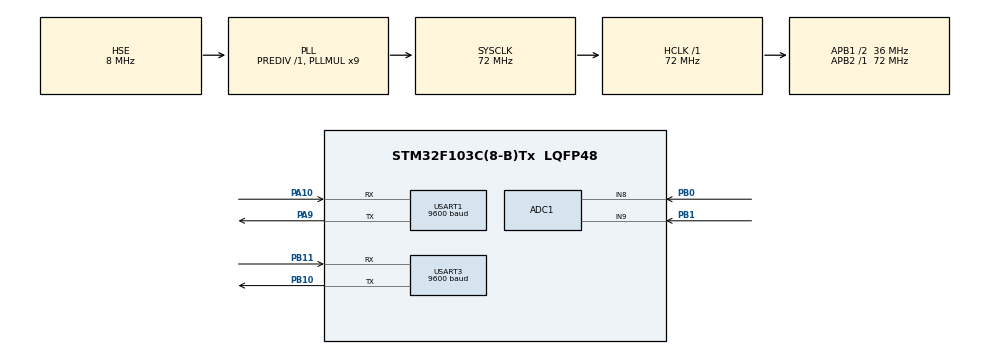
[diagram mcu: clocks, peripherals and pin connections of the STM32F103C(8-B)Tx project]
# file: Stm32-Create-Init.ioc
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ADC1.Channel-0\#ChannelRegularConversion=ADC_CHANNEL_8
ADC1.Channel-1\#ChannelRegularConversion=ADC_CHANNEL_9
ADC1.DiscontinuousConvMode=ENABLE
ADC1.NbrOfConversion=2
ADC1.NbrOfConversionFlag=1
ADC1.Rank-0\#ChannelRegularConversion=1
ADC1.Rank-1\#ChannelRegularConversion=2
ADC1.SamplingTime-0\#ChannelRegularConversion=ADC_SAMPLETIME_1CYCLE_5
ADC1.SamplingTime-1\#ChannelRegularConversion=ADC_SAMPLETIME_1CYCLE_5
ADC1.master=1
Mcu.Family=STM32F1
Mcu.Name=STM32F103C(8-B)Tx
Mcu.Package=LQFP48
NVIC.PriorityGroup=NVIC_PRIORITYGROUP_4
NVIC.TIM4_IRQn=true\:0\:0\:false\:false\:true\:true\:true\:true
NVIC.USART1_IRQn=true\:0\:0\:false\:false\:true\:true\:true\:true
PA10.Mode=Asynchronous
PA10.Signal=USART1_RX
PA9.Mode=Asynchronous
PA9.Signal=USART1_TX
PB0.Signal=ADCx_IN8
PB1.Signal=ADCx_IN9
PB10.Mode=Asynchronous
PB10.Signal=USART3_TX
PB11.Mode=Asynchronous
PB11.Signal=USART3_RX
PD0-OSC_IN.Mode=HSE-External-Oscillator
PD0-OSC_IN.Signal=RCC_OSC_IN
PD1-OSC_OUT.Mode=HSE-External-Oscillator
PD1-OSC_OUT.Signal=RCC_OSC_OUT
ProjectManager.HeapSize=0x200
ProjectManager.StackSize=0x400
ProjectManager.TargetToolchain=MDK-ARM V5
RCC.ADCPresc=RCC_ADCPCLK2_DIV6
RCC.AHBFreq_Value=72000000
RCC.APB1CLKDivider=RCC_HCLK_DIV2
RCC.APB1Freq_Value=36000000
RCC.APB1TimFreq_Value=72000000
RCC.APB2Freq_Value=72000000
RCC.APB2TimFreq_Value=72000000
RCC.HCLKFreq_Value=72000000
RCC.PLLMUL=RCC_PLL_MUL9
RCC.PLLSourceVirtual=RCC_PLLSOURCE_HSE
RCC.SYSCLKFreq_VALUE=72000000
RCC.SYSCLKSource=RCC_SYSCLKSOURCE_PLLCLK
RCC.USBFreq_Value=72000000
SH.ADCx_IN8.0=ADC1_IN8,IN8
SH.ADCx_IN9.0=ADC1_IN9,IN9
TIM4.Period=1000-1
TIM4.Prescaler=72-1
USART1.BaudRate=9600
USART1.VirtualMode=VM_ASYNC
USART3.BaudRate=9600
USART3.VirtualMode=VM_ASYNC
VP_SYS_VS_ND.Mode=No_Debug
VP_TIM4_VS_ClockSourceINT.Mode=Internal
board=custom

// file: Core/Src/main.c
/* USER CODE BEGIN Header */
/**
  ******************************************************************************
  * @file           : main.c
  * @brief          : Main program body
  ******************************************************************************
  * @attention
  *
  * Copyright (c) 2024 STMicroelectronics.
  * All rights reserved.
  *
  * This software is licensed under terms that can be found in the LICENSE file
  * in the root directory of this software component.
  * If no LICENSE file comes with this software, it is provided AS-IS.
  *
  ******************************************************************************
  */
/* USER CODE END Header */
#include "main.h"
#include "adc.h"
#include "tim.h"
#include "usart.h"
#include "gpio.h"

/* USER CODE BEGIN Includes */
#include "stdio.h"
#include <stdlib.h>
#include "delay.h"
#include "beep.h"
#include "ds18b20.h"
#include "gpio_output.h"
#include "lcd1602.h"
#include "key.h"
#include "flash.h"
/* USER CODE END Includes */

/* USER CODE BEGIN PV */

// 显示缓冲区
char showBuffer[50] = {0, };

unsigned short adGzValue = 0; // 光照值
unsigned short adSdValue = 0; // 湿度值
unsigned short newAdSdValue = 0; // 新湿度值
unsigned short temperture = 0; // 温度
int adSdValueArray[3] = {0};

unsigned short setTemperture = 273; // 设置温度
unsigned short setHumidity = 70; // 设置湿度度上限
unsigned short setLighting = 130; // 设置光照

int controlMode = 0; // 控制模式
unsigned char dgState = 0; // 灯光状态
unsigned char sbState = 0; // 水泵状态
unsigned char fsState = 0; // 风扇状态

/* USER CODE END PV */

void SystemClock_Config(void);

/* USER CODE BEGIN 0 */
/**
  * @brief  GPIO 打开所有时钟
  * @retval void
  */
void Main_GPIO_OpenAll_RCC_CLK()
{
    /* GPIO Ports Clock Enable */
    __HAL_RCC_GPIOD_CLK_ENABLE();
    __HAL_RCC_GPIOC_CLK_ENABLE();
    __HAL_RCC_GPIOB_CLK_ENABLE();
    __HAL_RCC_GPIOA_CLK_ENABLE();
}

/**
  * @brief  GPIO 初始化
  * @retval void
  */
void Main_GPIO_Init()
{
    Main_GPIO_OpenAll_RCC_CLK();
}

// 定义map函数
int map(int x, int in_min, int in_max, int out_min, int out_max)
{
    // 检查输入范围是否有效
    if(in_min == in_max)
    {
        return -1;  // 或者返回其他错误码
    }

    // 计算映射后的值
    long mapped = (x - in_min) * (out_max - out_min) / (in_max - in_min) + out_min;

    // 返回结果
    return mapped;
}

/**
  * @brief  获取AD数据
  * @retval void
  */
void GetAdValue(void)
{
    HAL_ADC_Start(&hadc1);
    // 通道8 湿度
    HAL_ADC_PollForConversion(&hadc1, 50);

    if(HAL_IS_BIT_SET(HAL_ADC_GetState(&hadc1), HAL_ADC_STATE_REG_EOC))
    {
        int AD_Value = HAL_ADC_GetValue(&hadc1);
        newAdSdValue = map(AD_Value, 0, 4095, 0, 255);
    }

    HAL_ADC_Start(&hadc1);
    // 通道9 光照强度
    HAL_ADC_PollForConversion(&hadc1, 50);

    if(HAL_IS_BIT_SET(HAL_ADC_GetState(&hadc1), HAL_ADC_STATE_REG_EOC))
    {
        int AD_Value = HAL_ADC_GetValue(&hadc1);
        adGzValue = map(AD_Value, 0, 4095, 0, 255);
    }
}

/**
  * @brief  关闭所有
  * @retval void
  */
void Close(void)
{
    Beep_Control(0); // 关闭报警
    GpioOutput_NumbetrControl(0, 0); // 关闭光照
    GpioOutput_NumbetrControl(2, 0); // 关闭水泵
    GpioOutput_NumbetrControl(1, 0); // 关闭风扇
    dgState = 0; // 灯光关
    sbState = 0; // 水泵关
    fsState = 0; // 风扇关
}
/* USER CODE END 0 */

int main(void)
{
    /* USER CODE BEGIN 1 */
    unsigned char sbWarnFlag = 0, wdWarnFlag = 0; // 警告标志
    unsigned char timerValue = 254;
    unsigned char setFlag = 0; // 设置标志
    unsigned char setIndex = 0; // 设置位置
    unsigned char showFlag = 1; // 显示标志
    /* USER CODE END 1 */

    /* MCU Configuration--------------------------------------------------------*/

    /* Reset of all peripherals, Initializes the Flash interface and the Systick. */
    HAL_Init();

    /* USER CODE BEGIN Init */
    __HAL_RCC_AFIO_CLK_ENABLE();        //端口重定义功能时钟
    __HAL_AFIO_REMAP_SWJ_NOJTAG();     //PB3用到了默认为JTAG-JTDO,用作PB3,PB3,PA15时须重定义，我通常使用ST-Link调试，因此SWJ需保留，只禁用JTAG即可。

    /* USER CODE END Init */

    /* Configure the system clock */
    SystemClock_Config();

    /* Initialize all configured peripherals */
    MX_GPIO_Init();
    MX_TIM4_Init();
    MX_USART1_UART_Init();
    MX_ADC1_Init();
    MX_USART3_UART_Init();
    /* USER CODE BEGIN 2 */
    Main_GPIO_Init();
    lcd1602_init();
    if(ds18b20_init())
    {
        lcd1602_show_string(0, 0, (unsigned char*)"ERR ");
        while(1);
    }
    Key_Init();
    Beep_Init();
    GpioOutput_Init();
    if(Flash_Init() == 0) // 存储过
    {
        setHumidity = Flash_ReadValue(0);
        setTemperture = Flash_ReadValue(1);
        setLighting = Flash_ReadValue(2);
        controlMode = Flash_ReadValue(3);
    }
    else
    {
        Flash_SaveValue(0, setHumidity);
        Flash_SaveValue(1, setTemperture);
        Flash_SaveValue(2, setLighting);
        Flash_SaveValue(3, controlMode);
    }
    /* USER CODE END 2 */

    /* Infinite loop */
    /* USER CODE BEGIN WHILE */
    while(1)
    {
        if(setFlag) // 设置
        {
            unsigned char key = Key_Scan(1);
            int addNum = 0; // 记录增加还是减小
            if(key == 2) // 加按键
            {
                addNum = 1; // 增加
            }
            else if(key == 3) // 减按键
            {
                addNum = -1; // 减小
            }
            else if(key == 1) // 设置键
            {
                if(++setIndex > 2)
                {
                    setFlag = 0; // 设置标志为假
                    timerValue = 254;
                }
                while(Key_Scan(1)); // 等待所有按钮松开
            }
            else if(key == 4) // 退出按键
            {
                setFlag = 0; // 设置标志为假
                timerValue = 254;
                while(Key_Scan(1)); // 等待所有按钮松开
            }

            if(setIndex == 0) // 设置湿度
            {
                setHumidity += addNum;
                if(setHumidity > 99)
                {
                    setHumidity = 99;
                }
                else if(setHumidity < 1)
                {
                    setHumidity = 1;
                }
                lcd1602_show_string(0, 0, (unsigned char*)"  Set Humidity  ");
                sprintf(showBuffer, "      %02d%%       ", setHumidity);
                if(addNum != 0)
                {
                    Flash_SaveValue(0, setHumidity);;
                }
            }
            else if(setIndex == 1)  // 设置温度
            {
                setTemperture += addNum;
                if(setTemperture > 999)
                {
                    setTemperture = 999;
                }
                else if(setTemperture < 1)
                {
                    setTemperture = 1;
                }
                lcd1602_show_string(0, 0, (unsigned char*)" Set Temperture ");
                sprintf(showBuffer, "      %04.1f      ", setTemperture / 10.0);
                if(addNum != 0)
                {
                    Flash_SaveValue(1, setTemperture);
                }
            }
            else // 设置光照
            {
                setLighting += addNum;
                if(setLighting > 255)
                {
                    setLighting = 255;
                }
                else if(setLighting < 1)
                {
                    setLighting = 1;
                }
                lcd1602_show_string(0, 0, (unsigned char*)"  Set Lighting  ");
                sprintf(showBuffer, "      %03d       ", setLighting);
                if(addNum != 0)
                {
                    Flash_SaveValue(2, setLighting);
                }
            }
            lcd1602_show_string(0, 1, (unsigned char*)showBuffer);
        }
        else // 运行
        {
            unsigned char key = Key_Scan(0);

            if(controlMode == 1 && key == 1) // 自动模式且设置按钮
            {
                setFlag = 1; // 设置标志为真
                setIndex = 0;
                Close();
                sbWarnFlag = wdWarnFlag = 0; // 警告标志为假
                while(Key_Scan(1)); // 等待所有按钮松开
                continue; // 是设置就不向下运行
            }
            else if(key == 4) // 模式切换
            {
                Close();
                controlMode = !controlMode; // 取反模式
                Flash_SaveValue(3, controlMode);
                timerValue = 254;
            }

            if(++timerValue > 40) // 显示
            {
                timerValue = 0;
                if(sbWarnFlag || wdWarnFlag) // 处于警告 取反显示
                {
                    showFlag = !showFlag;
                }
                GetAdValue(); // 读取湿度值
                adSdValueArray[0] = adSdValueArray[1];
                adSdValueArray[1] = adSdValueArray[2];
                adSdValueArray[2] = newAdSdValue;
                adSdValueArray[2] = (255 - adSdValueArray[2]) / 200.0 * 100;
                if(adSdValueArray[2] > 99)
                {
                    adSdValueArray[2] = 99;
                }

                if(abs(adSdValueArray[0] - adSdValueArray[1]) <= 5 && abs(adSdValueArray[1] - adSdValueArray[2]) <= 5)
                {
                    adSdValue = adSdValueArray[2];
                }

                temperture = ds18b20_get_temperature(); // 读取风扇值
                sprintf(showBuffer, "ZD SD:%02d%% G G G ", (int)adSdValue);
                if(controlMode == 0) // 手动模式
                {
                    showBuffer[0] = 'S';
                }
                if(controlMode && sbWarnFlag && showFlag == 0) // 不显示
                {
                    showBuffer[6] = ' ';
                    showBuffer[7] = ' ';
                    showBuffer[8] = ' ';
                }
                if(dgState) //
                {
                    showBuffer[10] = 'K';
                }
                if(fsState) //
                {
                    showBuffer[12] = 'K';
                }
                if(sbState) //
                {
                    showBuffer[14] = 'K';
                }

                lcd1602_show_string(0, 0, (unsigned char*)showBuffer);

                sprintf(showBuffer, "WD:%04.1f\001C GZ:%03d", temperture / 10.0, adGzValue);
                if(controlMode && wdWarnFlag && showFlag == 0) // 不显示
                {
                    showBuffer[3] = ' ';
                    showBuffer[4] = ' ';
                    showBuffer[5] = ' ';
                    showBuffer[6] = ' ';
                    showBuffer[7] = ' ';
                    showBuffer[8] = ' ';
                }
                lcd1602_show_string(0, 1, (unsigned char*)showBuffer);

            }

            if(controlMode == 0) // 手动模式
            {
                sbWarnFlag = wdWarnFlag  = 0; // 警告标志为假
                if(key == 1)
                {
                    dgState = !dgState;
                    timerValue = 254;
                }
                else if(key == 3) //
                {
                    sbState = !sbState;
                    timerValue = 254;
                }
                else if(key == 2) //
                {
                    fsState = !fsState;
                    timerValue = 254;
                }
            }
            else // 自动模式
            {
                // 检测光照
                if(adGzValue < setLighting) // 光线暗度大于设置
                {
                    dgState = 1; // 灯光开
                }
                else
                {
                    dgState = 0; // 灯光关
                }

                // 检测风扇
                if(temperture > setTemperture) // 温度大于设置
                {
                    fsState = 1; // 风扇开
                    wdWarnFlag = 1; // 警告标志为真
                }
                else
                {
                    fsState = 0; // 风扇关
                    wdWarnFlag = 0; // 警告标志为假
                }

                // 检测湿度
                if(adSdValue < setHumidity) // 湿度小于设置湿度 开启水泵
                {
                    sbState = 1; // 水泵开
                    sbWarnFlag = 1; // 警告标志为真
                }
                else // 湿度大于设置湿度 关闭水泵
                {
                    sbState = 0; // 水泵关
                    sbWarnFlag = 0; // 警告标志为假
                }
            }
        }

        if(dgState) // 灯光状态
        {
            GpioOutput_NumbetrControl(0, 1); // 开启灯
        }
        else
        {
            GpioOutput_NumbetrControl(0, 0); // 关闭灯
        }
        if(fsState) // 风扇状态
        {
            GpioOutput_NumbetrControl(1, 1); // 开启风扇
        }
        else
        {
            GpioOutput_NumbetrControl(1, 0); // 关闭风扇
        }

        if(sbState) // 水泵状态
        {
            GpioOutput_NumbetrControl(2, 1); // 开启水泵
        }
        else
        {
            GpioOutput_NumbetrControl(2, 0); // 关闭水泵
        }

        // 警告判断
        if(sbWarnFlag || wdWarnFlag)
        {
            Beep_GapControl();
        }
        else
        {
            Beep_Control(0);
        }
        Delay_Ms(10);
        /* USER CODE END WHILE */

    }
}

void SystemClock_Config(void)
{
    RCC_OscInitTypeDef RCC_OscInitStruct = {0};
    RCC_ClkInitTypeDef RCC_ClkInitStruct = {0};
    RCC_PeriphCLKInitTypeDef PeriphClkInit = {0};

    /** Initializes the RCC Oscillators according to the specified parameters
    * in the RCC_OscInitTypeDef structure.
    */
    RCC_OscInitStruct.OscillatorType = RCC_OSCILLATORTYPE_HSE;
    RCC_OscInitStruct.HSEState = RCC_HSE_ON;
    RCC_OscInitStruct.HSEPredivValue = RCC_HSE_PREDIV_DIV1;
    RCC_OscInitStruct.HSIState = RCC_HSI_ON;
    RCC_OscInitStruct.PLL.PLLState = RCC_PLL_ON;
    RCC_OscInitStruct.PLL.PLLSource = RCC_PLLSOURCE_HSE;
    RCC_OscInitStruct.PLL.PLLMUL = RCC_PLL_MUL9;

    if(HAL_RCC_OscConfig(&RCC_OscInitStruct) != HAL_OK)
    {
        Error_Handler();
    }

    /** Initializes the CPU, AHB and APB buses clocks
    */
    RCC_ClkInitStruct.ClockType = RCC_CLOCKTYPE_HCLK | RCC_CLOCKTYPE_SYSCLK
                                  | RCC_CLOCKTYPE_PCLK1 | RCC_CLOCKTYPE_PCLK2;
    RCC_ClkInitStruct.SYSCLKSource = RCC_SYSCLKSOURCE_PLLCLK;
    RCC_ClkInitStruct.AHBCLKDivider = RCC_SYSCLK_DIV1;
    RCC_ClkInitStruct.APB1CLKDivider = RCC_HCLK_DIV2;
    RCC_ClkInitStruct.APB2CLKDivider = RCC_HCLK_DIV1;

    if(HAL_RCC_ClockConfig(&RCC_ClkInitStruct, FLASH_LATENCY_2) != HAL_OK)
    {
        Error_Handler();
    }

    PeriphClkInit.PeriphClockSelection = RCC_PERIPHCLK_ADC;
    PeriphClkInit.AdcClockSelection = RCC_ADCPCLK2_DIV6;

    if(HAL_RCCEx_PeriphCLKConfig(&PeriphClkInit) != HAL_OK)
    {
        Error_Handler();
    }
}

void Error_Handler(void)
{
    __disable_irq();
    while(1)
    {
    }
}
